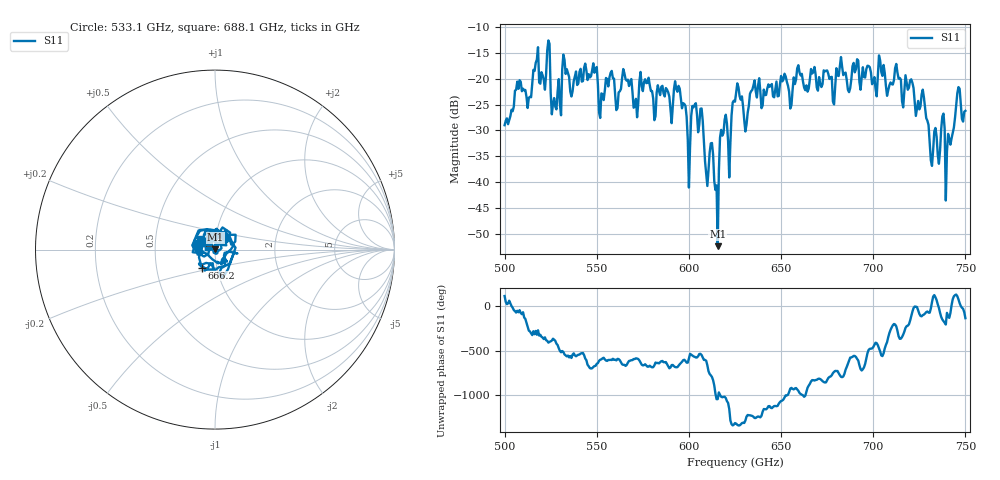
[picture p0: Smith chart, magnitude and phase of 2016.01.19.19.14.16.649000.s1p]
!Created with skrf (http://scikit-rf.org).
# GHz S RI R 50.0
!freq ReS11 ImS11
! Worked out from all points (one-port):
!   401 points, 500 GHz to 750 GHz, reference 50 ohm
!   lowest |S11| = -52.4 dB at 615.6 GHz (marker M1), VSWR 1.00, Z = 50.2 + j0.135 ohm
!   |S11| at or under -10 dB: start of sweep to end of sweep
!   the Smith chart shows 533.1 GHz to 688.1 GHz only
!   S11 on the Smith chart (normalised r, x): 533.1 GHz: 0.80, +0.04; 666.2 GHz: 0.85, -0.17; 688.1 GHz: 0.85, +0.10
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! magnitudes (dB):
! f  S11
! 500 GHz  -29.0
! 507.5 GHz  -21.9
! 513.1 GHz  -23.7
! 516.9 GHz  -16.9
! 523.8 GHz  -12.6
! 526.9 GHz  -23.7
! 531.2 GHz  -18.2
! 533.1 GHz  -19.0
! 562.5 GHz  -22.4
! 593.8 GHz  -22.5
! 599.4 GHz  -31.7
! 603.1 GHz  -25.0
! 615.6 GHz  -52.4
! 618.1 GHz  -31.0
! 621.9 GHz  -39.1
! 625 GHz  -24.4
! 630.6 GHz  -30.2
! 656.2 GHz  -22.1
! 666.2 GHz  -18.1
! 687.5 GHz  -21.8
! 688.1 GHz  -20.1
! 718.8 GHz  -22.1
! 727.5 GHz  -23.6
! 731.9 GHz  -36.9
! 737.5 GHz  -27.3
! 740.6 GHz  -30.7
! 746.2 GHz  -21.6
! 750 GHz  -26.2
